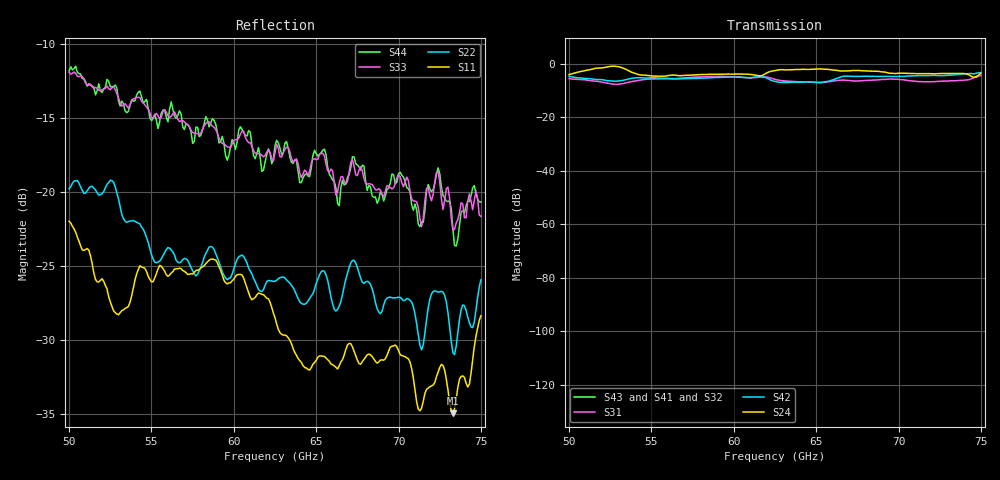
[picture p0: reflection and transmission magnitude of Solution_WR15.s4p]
# GHZ S RI R 50
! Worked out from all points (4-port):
!   251 points, 50 GHz to 75 GHz, reference 50 ohm
!   strongest paths, dB at 50 GHz, 56.2 GHz, 62.5 GHz, 68.8 GHz, 75 GHz:
!     S24: -3.9, -4.2, -2.4, -2.7, -3.3
!     S42: -4.6, -5.6, -6.5, -4.6, -3.2
!     S31: -5.4, -5.4, -5.7, -5.9, -4.2
!     S43: -, -, -, -, -
!     S41: -, -, -, -, -
!     S32: -, -, -, -, -
!   lowest |S11| = -34.9 dB at 73.3 GHz (marker M1), VSWR 1.04, Z = 51.1 + j1.45 ohm
!   |S11| at or under -10 dB: start of sweep to end of sweep
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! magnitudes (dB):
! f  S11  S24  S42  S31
! 50 GHz  -22.0  -3.9  -4.6  -5.4
! 52.9 GHz  -28.2  -0.9  -6.4  -7.6
! 58.8 GHz  -24.6  -3.8  -5.1  -4.7
! 64.5 GHz  -32.0  -2.0  -6.7  -6.7
! 72.6 GHz  -31.6  -3.5  -4.3  -6.4
! 73.3 GHz  -34.9  -3.5  -4.1  -6.2
! 75 GHz  -28.4  -3.3  -3.2  -4.2
